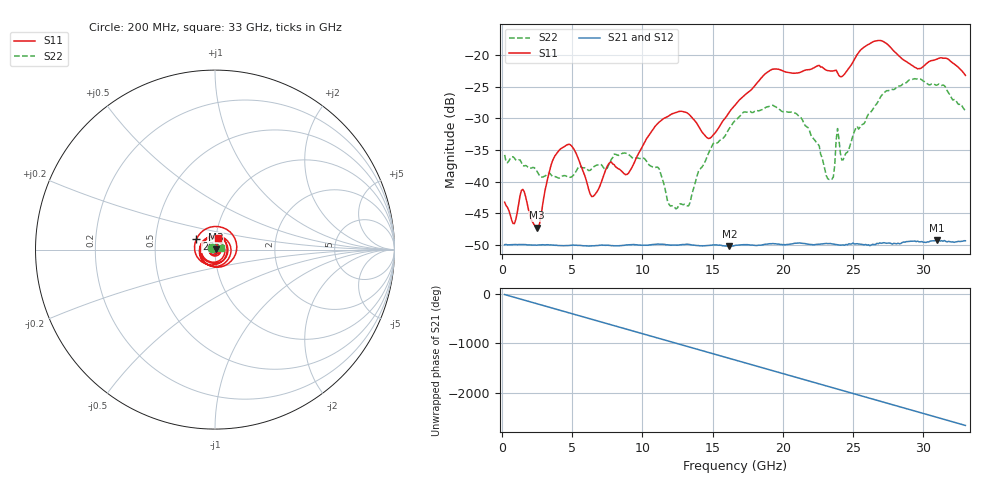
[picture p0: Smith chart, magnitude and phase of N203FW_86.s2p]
# GHZ S RI R 50
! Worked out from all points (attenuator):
!   329 points, 200 MHz to 33 GHz, reference 50 ohm
!   highest |S21| = -49.25 dB at 31 GHz (marker M1); lowest = -50.2 dB at 16.2 GHz (marker M2)
!   lowest |S11| = -47.3 dB at 2.5 GHz (marker M3), VSWR 1.01, Z = 50.3 + j0.259 ohm
!   |S11| at or under -10 dB: start of sweep to end of sweep
!   |S22| runs from -44.3 to -23.8 dB; largest |S21 - S12| = 8.9e-05
!   S11 on the Smith chart (normalised r, x): 200 MHz: 1.01, +0.01; 26 GHz: 0.81, +0.10; 33 GHz: 1.03, +0.14
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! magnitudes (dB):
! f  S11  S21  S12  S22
! 200 MHz  -43.3  -50.0  -49.9  -35.8
! 900 MHz  -46.6  -49.9  -49.9  -36.3
! 1.5 GHz  -41.2  -49.9  -49.9  -37.5
! 2.5 GHz  -47.3  -50.0  -50.0  -38.4
! 3.9 GHz  -35.6  -50.1  -50.1  -39.3
! 5.7 GHz  -37.9  -50.1  -50.1  -37.8
! 6.5 GHz  -42.3  -50.2  -50.1  -37.7
! 11.2 GHz  -30.6  -49.9  -49.9  -38.0
! 11.9 GHz  -29.6  -50.0  -50.0  -43.6
! 13.3 GHz  -29.3  -49.9  -49.9  -43.8
! 14.7 GHz  -33.2  -50.1  -50.1  -35.6
! 16.2 GHz  -29.0  -50.2  -50.2  -31.6
! 16.6 GHz  -28.0  -50.1  -50.1  -30.4
! 19.3 GHz  -22.3  -49.8  -49.8  -28.0
! 22.1 GHz  -22.2  -50.0  -49.9  -33.0
! 23.5 GHz  -22.5  -49.8  -49.8  -39.6
! 23.9 GHz  -22.8  -50.0  -50.0  -31.6
! 24.3 GHz  -23.3  -50.0  -50.0  -36.6
! 26 GHz  -18.5  -50.0  -50.0  -29.8
! 27.6 GHz  -18.6  -49.7  -49.7  -25.6
! 31 GHz  -20.6  -49.3  -49.2  -24.8
! 33 GHz  -23.2  -49.3  -49.4  -28.8
